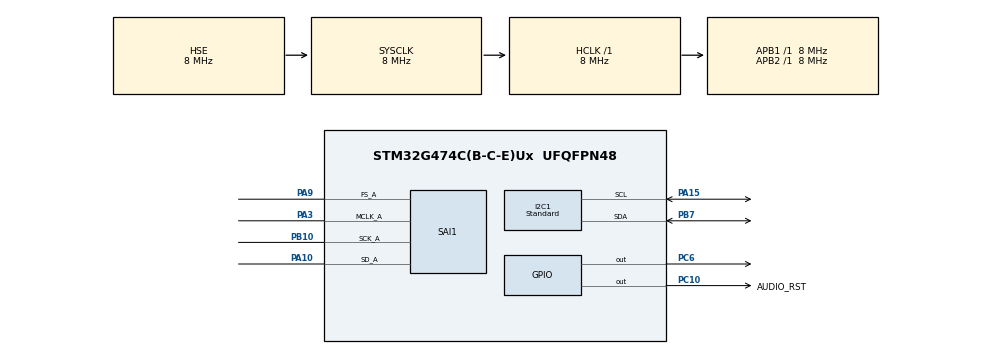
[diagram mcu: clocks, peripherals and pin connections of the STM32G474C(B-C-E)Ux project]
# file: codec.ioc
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Dma.Request0=SAI1_A
Dma.SAI1_A.0.Direction=DMA_MEMORY_TO_PERIPH
Dma.SAI1_A.0.EventEnable=DISABLE
Dma.SAI1_A.0.Instance=DMA1_Channel1
Dma.SAI1_A.0.MemDataAlignment=DMA_MDATAALIGN_HALFWORD
Dma.SAI1_A.0.MemInc=DMA_MINC_ENABLE
Dma.SAI1_A.0.Mode=DMA_CIRCULAR
Dma.SAI1_A.0.PeriphDataAlignment=DMA_PDATAALIGN_HALFWORD
Dma.SAI1_A.0.PeriphInc=DMA_PINC_DISABLE
Dma.SAI1_A.0.Polarity=HAL_DMAMUX_REQ_GEN_RISING
Dma.SAI1_A.0.Priority=DMA_PRIORITY_HIGH
Dma.SAI1_A.0.RequestNumber=1
Dma.SAI1_A.0.SignalID=NONE
Dma.SAI1_A.0.SyncEnable=ENABLE
Dma.SAI1_A.0.SyncPolarity=HAL_DMAMUX_SYNC_RISING
Dma.SAI1_A.0.SyncRequestNumber=1
Dma.SAI1_A.0.SyncSignalID=NONE
I2C1.Analog_Filter=I2C_ANALOGFILTER_ENABLE
I2C1.CustomTiming=Disabled
I2C1.GeneralCallMode=I2C_GENERALCALL_DISABLE
I2C1.I2C_Fall_Time=100
I2C1.I2C_Rise_Time=640
I2C1.I2C_Speed_Mode=I2C_Standard
I2C1.NoStretchMode=I2C_NOSTRETCH_DISABLE
I2C1.OwnAddress=0
I2C1.Timing=0x2020090C
Mcu.Family=STM32G4
Mcu.Name=STM32G474C(B-C-E)Ux
Mcu.Package=UFQFPN48
NVIC.DMA1_Channel1_IRQn=true\:0\:0\:false\:false\:true\:false\:true\:true
NVIC.DMAMUX_OVR_IRQn=true\:0\:0\:false\:false\:true\:false\:true\:true
NVIC.PriorityGroup=NVIC_PRIORITYGROUP_4
PA10.Mode=SAI_A_MasterWithClock
PA10.Signal=SAI1_SD_A
PA15.Mode=I2C
PA15.Signal=I2C1_SCL
PA3.Mode=SAI_A_MasterWithClock
PA3.Signal=SAI1_MCLK_A
PA9.Mode=SAI_A_MasterWithClock
PA9.Signal=SAI1_FS_A
PB10.Mode=SAI_A_MasterWithClock
PB10.Signal=SAI1_SCK_A
PB7.Mode=I2C
PB7.Signal=I2C1_SDA
PC10.GPIO_Label=AUDIO_RST
PC10.GPIO_PuPd=GPIO_PULLDOWN
PC10.Signal=GPIO_Output
PC6.GPIO_ModeDefaultOutputPP=GPIO_MODE_OUTPUT_PP
PC6.GPIO_PuPd=GPIO_NOPULL
PC6.Signal=GPIO_Output
PF0-OSC_IN.Mode=HSE-External-Oscillator
PF0-OSC_IN.Signal=RCC_OSC_IN
PF1-OSC_OUT.Mode=HSE-External-Oscillator
PF1-OSC_OUT.Signal=RCC_OSC_OUT
ProjectManager.HeapSize=0x200
ProjectManager.StackSize=0x400
ProjectManager.TargetToolchain=STM32CubeIDE
RCC.ADC12Freq_Value=8000000
RCC.ADC345Freq_Value=8000000
RCC.AHBFreq_Value=8000000
RCC.APB1Freq_Value=8000000
RCC.APB1TimFreq_Value=8000000
RCC.APB2Freq_Value=8000000
RCC.APB2TimFreq_Value=8000000
RCC.CortexFreq_Value=8000000
RCC.DATA_CACHE_ENABLE=1
RCC.EXTERNAL_CLOCK_VALUE=49000000
RCC.HCLKFreq_Value=8000000
RCC.HSE_VALUE=8000000
RCC.HSI48_VALUE=48000000
RCC.HSI_VALUE=16000000
RCC.I2SCLockSelection=RCC_I2SCLKSOURCE_PLL
RCC.INSTRUCTION_CACHE_ENABLE=1
RCC.LSE_VALUE=32768
RCC.PLLN=36
RCC.PLLQ=RCC_PLLQ_DIV6
RCC.PLLR=RCC_PLLR_DIV6
RCC.PLLSourceVirtual=RCC_PLLSOURCE_HSE
RCC.PREFETCH_ENABLE=1
RCC.SAI1CLockSelection=RCC_SAI1CLKSOURCE_PLL
RCC.SYSCLKFreq_VALUE=8000000
RCC.SYSCLKSource=RCC_SYSCLKSOURCE_HSE
RCC.USBFreq_Value=48000000
RCC.VCOOutputFreq_Value=288000000
SAI1.ActiveFrameLength-SAI_A_MasterWithClock=16
SAI1.AudioFrequency-SAI_A_MasterWithClock=SAI_AUDIO_FREQUENCY_48K
SAI1.DataSize-SAI_A_MasterWithClock=SAI_DATASIZE_16
SAI1.FSDefinition-SAI_A_MasterWithClock=SAI_FS_CHANNEL_IDENTIFICATION
SAI1.FSOffset-SAI_A_MasterWithClock=SAI_FS_FIRSTBIT
SAI1.FirstBitOffset-SAI_A_MasterWithClock=0
SAI1.FrameLength-SAI_A_MasterWithClock=32
SAI1.Instance-SAI_A_MasterWithClock=SAI$Index_Block_A
SAI1.MckOutput-SAI_A_MasterWithClock=SAI_MCK_OUTPUT_ENABLE
SAI1.SlotActive-SAI_A_MasterWithClock=0x00000003
SAI1.SlotNumber-SAI_A_MasterWithClock=2
SAI1.VirtualMode-SAI_A_MasterWithClock=VM_MASTER
SAI1.VirtualSlotActive-SAI_A_MasterWithClock=SAI_SLOT_USERSETTING
SAI1.VirtualSlotActive0-SAI_A_MasterWithClock=true
SAI1.VirtualSlotActive1-SAI_A_MasterWithClock=true
STMicroelectronics.X-CUBE-ALGOBUILD.1.4.0.LibraryCcDSPOoLibraryJjDSPOoLibrary=true
VP_STMicroelectronics.X-CUBE-ALGOBUILD_VS_DSPOoLibraryJjLibrary_1.4.0_1.4.0.Mode=DSPOoLibraryJjLibrary
VP_SYS_VS_DBSignals.Mode=DisableDeadBatterySignals
board=custom

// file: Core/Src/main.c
/* USER CODE BEGIN Header */
/**
  ******************************************************************************
  * @file           : main.c
  * @brief          : Main program body
  ******************************************************************************
  * @attention
  *
  * Copyright (c) 2025 STMicroelectronics.
  * All rights reserved.
  *
  * This software is licensed under terms that can be found in the LICENSE file
  * in the root directory of this software component.
  * If no LICENSE file comes with this software, it is provided AS-IS.
  *
  ******************************************************************************
  */
/* USER CODE END Header */
#include "main.h"

/* USER CODE BEGIN Includes */
#include "arm_math.h"
#define BUFSIZE 64//need 2*n

/* USER CODE END Includes */

/* USER CODE BEGIN PD */
#if defined( __ICCARM__ )
#define DMA_D2_BUFFER \
  _Pragma("location=\".dma_d2_buffer\"")
#else
#define DMA_D2_BUFFER \
  __attribute__((section(".dma_d2_buffer"), used, aligned (4)))
#endif

/* USER CODE END PD */

I2C_HandleTypeDef hi2c1;

SAI_HandleTypeDef hsai_BlockA1;
DMA_HandleTypeDef hdma_sai1_a;

/* USER CODE BEGIN PV */
DMA_D2_BUFFER int16_t buffer[BUFSIZE * 2];
/* USER CODE END PV */

void SystemClock_Config(void);

static void MX_GPIO_Init(void);

static void MX_DMA_Init(void);

static void MX_I2C1_Init(void);

static void MX_SAI1_Init(void);

/* USER CODE BEGIN 0 */
void Error_LED(void);

const float twopi = 6.2831853072f;
float mid = (1 << 14) - 1;
float ph1 = 0.f;
float ph2 = 0.f;
const float f1 = 110.f;
const float f2 = 150.f;
const float inc = f1 / 48000.f;
const float inc2 = f2 / 48000.f;

void process(int16_t *buf) {
  for (size_t i = 0; i < BUFSIZE / 2; ++i) {
    buf[2 * i] = mid * (arm_cos_f32(twopi * ph1));
    buf[2 * i + 1] = mid * (arm_sin_f32(twopi * ph2));
    ph1 += inc;
    ph2 += inc2;
    if (ph1 >= 1.f)
      ph1 -= 1.f;
    if (ph2 >= 1.f)
      ph2 -= 1.f;
  }
}

void HAL_SAI_TxCpltCallback(SAI_HandleTypeDef *hsai) {
  process(&buffer[BUFSIZE]);
}

void HAL_SAI_TxHalfCpltCallback(SAI_HandleTypeDef *hsai) {
  process(&buffer[0]);
}

void HAL_SAI_ErrorCallback(SAI_HandleTypeDef *hsai) {
  uint8_t errorCode = hsai_BlockA1.ErrorCode;
  Error_LED();
}

/* USER CODE END 0 */

int main(void) {

  /* MCU Configuration--------------------------------------------------------*/

  /* Reset of all peripherals, Initializes the Flash interface and the Systick. */
  HAL_Init();

  /* Configure the system clock */
  SystemClock_Config();

  /* Initialize all configured peripherals */
  MX_GPIO_Init();
  MX_DMA_Init();
  MX_I2C1_Init();
  MX_SAI1_Init();
  /* USER CODE BEGIN 2 */

  HAL_StatusTypeDef halStatus;

  for (size_t i = 0; i < BUFSIZE * 2; ++i) {
    buffer[i] = 0;
  }

  HAL_GPIO_WritePin(GPIOC, GPIO_PIN_10, GPIO_PIN_RESET);
  HAL_Delay(100);

  HAL_GPIO_WritePin(GPIOC, GPIO_PIN_10, GPIO_PIN_SET);
  HAL_Delay(1);

  // // Initialize, open control port, set to power down
  // Set PDN and CPEN
  uint8_t data = 0x03;
  halStatus = HAL_I2C_Mem_Write(&hi2c1, (0x10 << 1), 0x07, I2C_MEMADD_SIZE_8BIT, &data, 1, HAL_MAX_DELAY);
  if (halStatus != HAL_OK) {
    uint32_t errorCode = hi2c1.ErrorCode;
    Error_LED();
  }

  // Set M0 and DAC_FIF0
  data = (1 << 6) | 0x01;
  halStatus = HAL_I2C_Mem_Write(&hi2c1, (0x10 << 1), 0x01, I2C_MEMADD_SIZE_8BIT, &data, 1, HAL_MAX_DELAY);
  if (halStatus != HAL_OK) {
    uint32_t errorCode = hi2c1.ErrorCode;
    Error_LED();
  }

  // Reset PDN bit
  data = 0x02; // PDN = 0
  halStatus = HAL_I2C_Mem_Write(&hi2c1, (0x10 << 1), 0x07, I2C_MEMADD_SIZE_8BIT, &data, 1, HAL_MAX_DELAY);
  if (halStatus != HAL_OK) {
    uint32_t errorCode = hi2c1.ErrorCode;
    Error_LED();
  }

  halStatus = HAL_SAI_Transmit_DMA(&hsai_BlockA1, (uint8_t *) &buffer, BUFSIZE * 2);
  if (halStatus != HAL_OK) {
    uint32_t errorCode = hsai_BlockA1.ErrorCode;
    Error_LED();
  }

  /* USER CODE END 2 */

  /* Infinite loop */
  while (1) {

  }
}

void SystemClock_Config(void) {
  RCC_OscInitTypeDef RCC_OscInitStruct = {0};
  RCC_ClkInitTypeDef RCC_ClkInitStruct = {0};

  /** Configure the main internal regulator output voltage
  */
  HAL_PWREx_ControlVoltageScaling(PWR_REGULATOR_VOLTAGE_SCALE1);

  /** Initializes the RCC Oscillators according to the specified parameters
  * in the RCC_OscInitTypeDef structure.
  */
  RCC_OscInitStruct.OscillatorType = RCC_OSCILLATORTYPE_HSE;
  RCC_OscInitStruct.HSEState = RCC_HSE_ON;
  RCC_OscInitStruct.PLL.PLLState = RCC_PLL_ON;
  RCC_OscInitStruct.PLL.PLLSource = RCC_PLLSOURCE_HSE;
  RCC_OscInitStruct.PLL.PLLM = RCC_PLLM_DIV1;
  RCC_OscInitStruct.PLL.PLLN = 36;
  RCC_OscInitStruct.PLL.PLLP = RCC_PLLP_DIV2;
  RCC_OscInitStruct.PLL.PLLQ = RCC_PLLQ_DIV6;
  RCC_OscInitStruct.PLL.PLLR = RCC_PLLR_DIV6;
  if (HAL_RCC_OscConfig(&RCC_OscInitStruct) != HAL_OK) {
    Error_Handler();
  }

  /** Initializes the CPU, AHB and APB buses clocks
  */
  RCC_ClkInitStruct.ClockType = RCC_CLOCKTYPE_HCLK | RCC_CLOCKTYPE_SYSCLK
                                | RCC_CLOCKTYPE_PCLK1 | RCC_CLOCKTYPE_PCLK2;
  RCC_ClkInitStruct.SYSCLKSource = RCC_SYSCLKSOURCE_HSE;
  RCC_ClkInitStruct.AHBCLKDivider = RCC_SYSCLK_DIV1;
  RCC_ClkInitStruct.APB1CLKDivider = RCC_HCLK_DIV1;
  RCC_ClkInitStruct.APB2CLKDivider = RCC_HCLK_DIV1;

  if (HAL_RCC_ClockConfig(&RCC_ClkInitStruct, FLASH_LATENCY_0) != HAL_OK) {
    Error_Handler();
  }
}

static void MX_I2C1_Init(void) {

  hi2c1.Instance = I2C1;
  hi2c1.Init.Timing = 0x2020090C;
  hi2c1.Init.OwnAddress1 = 0;
  hi2c1.Init.AddressingMode = I2C_ADDRESSINGMODE_7BIT;
  hi2c1.Init.DualAddressMode = I2C_DUALADDRESS_DISABLE;
  hi2c1.Init.OwnAddress2 = 0;
  hi2c1.Init.OwnAddress2Masks = I2C_OA2_NOMASK;
  hi2c1.Init.GeneralCallMode = I2C_GENERALCALL_DISABLE;
  hi2c1.Init.NoStretchMode = I2C_NOSTRETCH_DISABLE;
  if (HAL_I2C_Init(&hi2c1) != HAL_OK) {
    Error_Handler();
  }

  /** Configure Analogue filter
  */
  if (HAL_I2CEx_ConfigAnalogFilter(&hi2c1, I2C_ANALOGFILTER_ENABLE) != HAL_OK) {
    Error_Handler();
  }

  /** Configure Digital filter
  */
  if (HAL_I2CEx_ConfigDigitalFilter(&hi2c1, 0) != HAL_OK) {
    Error_Handler();
  }
}

static void MX_SAI1_Init(void) {

  hsai_BlockA1.Instance = SAI1_Block_A;
  hsai_BlockA1.Init.Protocol = SAI_FREE_PROTOCOL;
  hsai_BlockA1.Init.AudioMode = SAI_MODEMASTER_TX;
  hsai_BlockA1.Init.DataSize = SAI_DATASIZE_16;
  hsai_BlockA1.Init.FirstBit = SAI_FIRSTBIT_MSB;
  hsai_BlockA1.Init.ClockStrobing = SAI_CLOCKSTROBING_RISINGEDGE;
  hsai_BlockA1.Init.Synchro = SAI_ASYNCHRONOUS;
  hsai_BlockA1.Init.OutputDrive = SAI_OUTPUTDRIVE_DISABLE;
  hsai_BlockA1.Init.NoDivider = SAI_MASTERDIVIDER_ENABLE;
  hsai_BlockA1.Init.MckOverSampling = SAI_MCK_OVERSAMPLING_DISABLE;
  hsai_BlockA1.Init.FIFOThreshold = SAI_FIFOTHRESHOLD_1QF;
  hsai_BlockA1.Init.AudioFrequency = SAI_AUDIO_FREQUENCY_48K;
  hsai_BlockA1.Init.MckOutput = SAI_MCK_OUTPUT_ENABLE;
  hsai_BlockA1.Init.SynchroExt = SAI_SYNCEXT_DISABLE;
  hsai_BlockA1.Init.MonoStereoMode = SAI_STEREOMODE;
  hsai_BlockA1.Init.CompandingMode = SAI_NOCOMPANDING;
  hsai_BlockA1.Init.TriState = SAI_OUTPUT_NOTRELEASED;
  hsai_BlockA1.Init.PdmInit.Activation = DISABLE;
  hsai_BlockA1.Init.PdmInit.MicPairsNbr = 0;
  hsai_BlockA1.Init.PdmInit.ClockEnable = SAI_PDM_CLOCK1_ENABLE;
  hsai_BlockA1.FrameInit.FrameLength = 32;
  hsai_BlockA1.FrameInit.ActiveFrameLength = 16;
  hsai_BlockA1.FrameInit.FSDefinition = SAI_FS_CHANNEL_IDENTIFICATION;
  hsai_BlockA1.FrameInit.FSPolarity = SAI_FS_ACTIVE_LOW;
  hsai_BlockA1.FrameInit.FSOffset = SAI_FS_FIRSTBIT;
  hsai_BlockA1.SlotInit.FirstBitOffset = 0;
  hsai_BlockA1.SlotInit.SlotSize = SAI_SLOTSIZE_DATASIZE;
  hsai_BlockA1.SlotInit.SlotNumber = 2;
  hsai_BlockA1.SlotInit.SlotActive = 0x00000003;
  if (HAL_SAI_Init(&hsai_BlockA1) != HAL_OK) {
    Error_Handler();
  }
}

static void MX_DMA_Init(void) {
  /* DMA controller clock enable */
  __HAL_RCC_DMAMUX1_CLK_ENABLE();
  __HAL_RCC_DMA1_CLK_ENABLE();

  /* DMA interrupt init */
  /* DMA1_Channel1_IRQn interrupt configuration */
  HAL_NVIC_SetPriority(DMA1_Channel1_IRQn, 0, 0);
  HAL_NVIC_EnableIRQ(DMA1_Channel1_IRQn);
  /* DMAMUX_OVR_IRQn interrupt configuration */
  HAL_NVIC_SetPriority(DMAMUX_OVR_IRQn, 0, 0);
  HAL_NVIC_EnableIRQ(DMAMUX_OVR_IRQn);
}

static void MX_GPIO_Init(void) {
  GPIO_InitTypeDef GPIO_InitStruct = {0};

  /* GPIO Ports Clock Enable */
  __HAL_RCC_GPIOF_CLK_ENABLE();
  __HAL_RCC_GPIOA_CLK_ENABLE();
  __HAL_RCC_GPIOB_CLK_ENABLE();
  __HAL_RCC_GPIOC_CLK_ENABLE();

  /*Configure GPIO pin Output Level */
  HAL_GPIO_WritePin(GPIOC, GPIO_PIN_6 | AUDIO_RST_Pin, GPIO_PIN_RESET);

  /*Configure GPIO pin : PC6 */
  GPIO_InitStruct.Pin = GPIO_PIN_6;
  GPIO_InitStruct.Mode = GPIO_MODE_OUTPUT_PP;
  GPIO_InitStruct.Pull = GPIO_NOPULL;
  GPIO_InitStruct.Speed = GPIO_SPEED_FREQ_LOW;
  HAL_GPIO_Init(GPIOC, &GPIO_InitStruct);

  /*Configure GPIO pin : AUDIO_RST_Pin */
  GPIO_InitStruct.Pin = AUDIO_RST_Pin;
  GPIO_InitStruct.Mode = GPIO_MODE_OUTPUT_PP;
  GPIO_InitStruct.Pull = GPIO_PULLDOWN;
  GPIO_InitStruct.Speed = GPIO_SPEED_FREQ_LOW;
  HAL_GPIO_Init(AUDIO_RST_GPIO_Port, &GPIO_InitStruct);

}

/* USER CODE BEGIN 4 */

void Error_LED(void) {
  while (1) {
    HAL_GPIO_WritePin(GPIOC, GPIO_PIN_6, GPIO_PIN_SET);
    HAL_Delay(100);
    HAL_GPIO_WritePin(GPIOC, GPIO_PIN_6, GPIO_PIN_RESET);
    HAL_Delay(500);
  }
}

/* USER CODE END 4 */

void Error_Handler(void) {
  __disable_irq();
  while (1) {
  }
}
